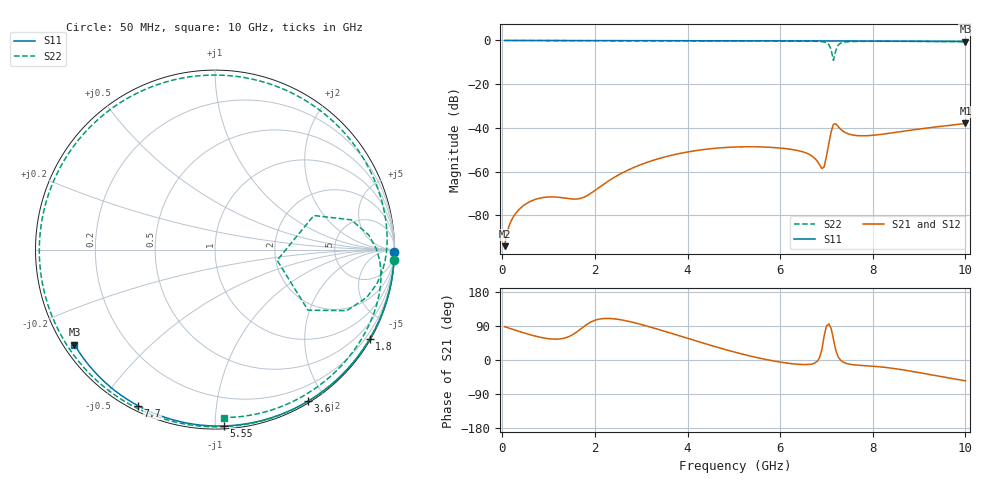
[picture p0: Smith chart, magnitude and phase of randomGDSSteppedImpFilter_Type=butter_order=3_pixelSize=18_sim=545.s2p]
! freq	dB(S11)	phase(S11)	dB(S12)	phase(S12)
!  dB(S21)	phase(S21)	dB(S22)	phase(S22)
!S-par simulation data
#  GHz  S  DB  R 50
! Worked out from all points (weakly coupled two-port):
!   200 points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, 50 MHz to 10 GHz, reference 50 ohm
!   highest |S21| = -37.96 dB at 10 GHz (marker M1); lowest = -94.0 dB at 50 MHz (marker M2)
!   lowest |S11| = -0.5 dB at 10 GHz (marker M3), VSWR 35.38, Z = 1.55 - j15.3 ohm
!   |S11| at or under -10 dB: nowhere
!   |S22| runs from -9.1 to 0.0 dB; largest |S21 - S12| = 0
!   S11 on the Smith chart (normalised r, x): 50 MHz: open; 1.8 GHz: 0.03, -3.73; 3.6 GHz: 0.02, -1.78; 5.55 GHz: 0.02, -1.05; 7.7 GHz: 0.02, -0.62; 10 GHz: 0.03, -0.31
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0.05  -0.00 -0.9  -94.03 88.0  -94.03 88.0  -0.00 -3.3
0.25  -0.01 -4.2  -80.25 79.9  -80.25 79.9  -0.02 -16.5
0.45  -0.01 -7.6  -75.61 72.1  -75.61 72.1  -0.04 -29.6
0.95  -0.02 -16.0  -71.62 57.0  -71.62 57.0  -0.08 -61.6
1.75  -0.04 -29.2  -71.76 87.2  -71.76 87.2  -0.13 -109.7
1.8  -0.04 -30.0  -71.28 91.7  -71.28 91.7  -0.13 -112.6
2.6  -0.06 -42.9  -60.44 105.2  -60.44 105.2  -0.17 -156.8
3.4  -0.07 -55.4  -53.89 79.6  -53.89 79.6  -0.20 161.4
3.6  -0.08 -58.5  -52.77 72.3  -52.77 72.3  -0.21 151.2
4.35  -0.10 -69.8  -49.85 44.2  -49.85 44.2  -0.23 113.7
5.05  -0.12 -80.0  -48.69 19.8  -48.69 19.8  -0.24 79.9
5.55  -0.14 -87.1  -48.65 5.0  -48.65 5.0  -0.25 56.7
6.7  -0.20 -103.0  -53.01 -10.1  -53.01 -10.1  -0.34 4.5
6.95  -0.22 -106.3  -57.77 63.8  -57.77 63.8  -0.71 -12.0
7.05  -0.22 -107.6  -47.23 95.1  -47.23 95.1  -1.84 -24.8
7.1  -0.22 -108.3  -41.90 83.6  -41.90 83.6  -4.18 -33.1
7.15  -0.23 -109.0  -38.32 55.6  -38.32 55.6  -9.09 -9.8
7.2  -0.23 -109.6  -38.07 26.1  -38.07 26.1  -4.70 19.0
7.3  -0.24 -111.0  -40.48 0.1  -40.48 0.1  -1.31 5.5
7.7  -0.27 -116.2  -43.54 -13.8  -43.54 -13.8  -0.43 -19.4
8.35  -0.32 -124.7  -42.45 -20.7  -42.45 -20.7  -0.39 -42.2
10  -0.49 -146.0  -37.96 -54.8  -37.96 -54.8  -0.57 -87.0
